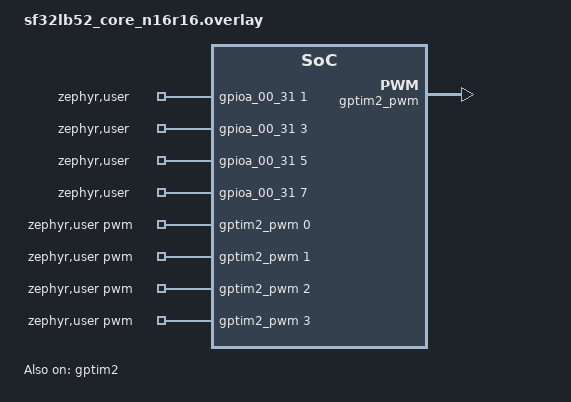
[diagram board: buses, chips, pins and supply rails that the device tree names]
/*
 * SPDX-FileCopyrightText: Copyright The Zephyr Project Contributors
 * SPDX-License-Identifier: Apache-2.0
 */

/* Test requires wire connection between:
 *  - GPTIM2_CH1 PWM output at PA00 <-> GPIO input at PA01
 */

#include <zephyr/dt-bindings/gpio/gpio.h>
#include <zephyr/dt-bindings/pwm/pwm.h>

/ {
	zephyr,user {
		pwms =
			<&gptim2_pwm 0 PWM_MSEC(20) PWM_POLARITY_NORMAL>,
			<&gptim2_pwm 1 PWM_MSEC(20) PWM_POLARITY_NORMAL>,
			<&gptim2_pwm 2 PWM_MSEC(20) PWM_POLARITY_NORMAL>,
			<&gptim2_pwm 3 PWM_MSEC(20) PWM_POLARITY_NORMAL>;
		gpios =
			<&gpioa_00_31 1 GPIO_ACTIVE_HIGH>,
			<&gpioa_00_31 3 GPIO_ACTIVE_HIGH>,
			<&gpioa_00_31 5 GPIO_ACTIVE_HIGH>,
			<&gpioa_00_31 7 GPIO_ACTIVE_HIGH>;
	};
};

&pinctrl {
	gptim2_pwm_default: gptim2_pwm_default {
		group1 {
			pinmux = <
				PA00_GPTIM2_CH1
				PA02_GPTIM2_CH2
				PA04_GPTIM2_CH3
				PA06_GPTIM2_CH4
			>;
		};
	};
};

&gptim2 {
	status = "okay";
	sifli,prescaler = <7>;

	gptim2_pwm: pwm {
		status = "okay";
		pinctrl-0 = <&gptim2_pwm_default>;
		pinctrl-names = "default";
	};
};

&gpioa_00_31 {
	status = "okay";
};
